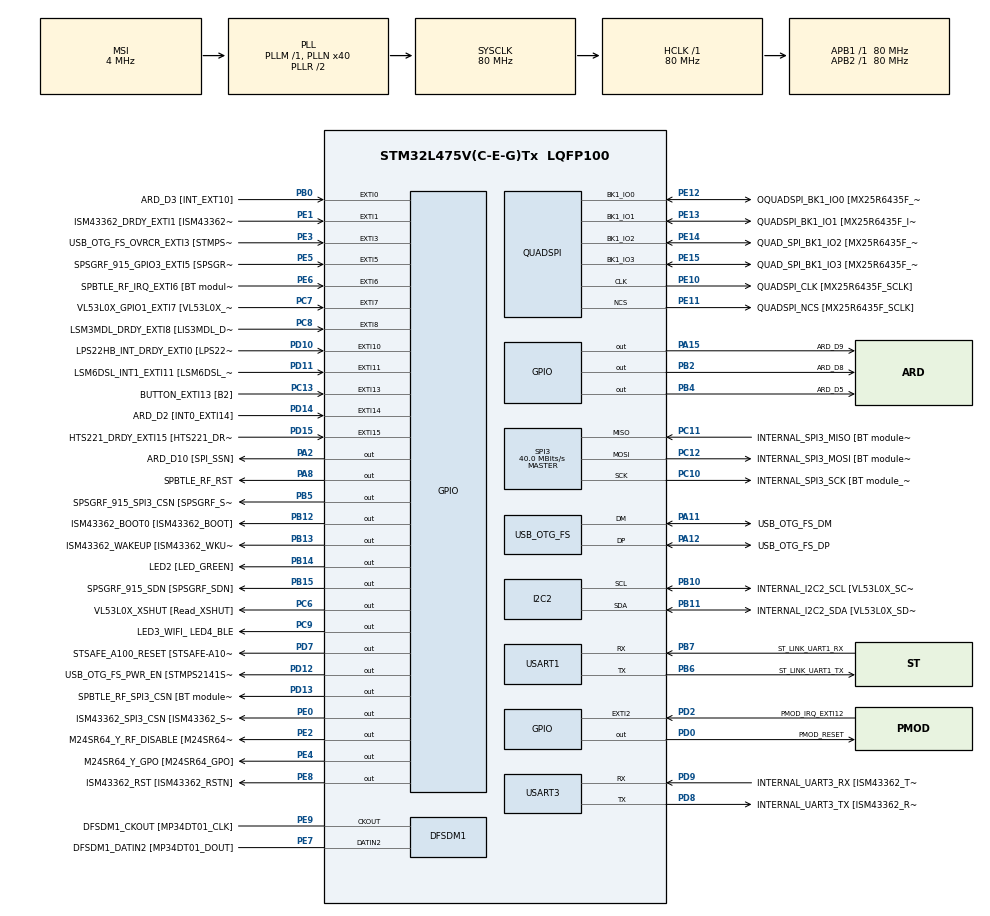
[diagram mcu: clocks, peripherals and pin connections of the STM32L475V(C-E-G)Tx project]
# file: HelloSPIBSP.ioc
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Mcu.Family=STM32L4
Mcu.Name=STM32L475V(C-E-G)Tx
Mcu.Package=LQFP100
NVIC.EXTI15_10_IRQn=true\:0\:0\:false\:false\:true\:true\:true
NVIC.EXTI9_5_IRQn=true\:0\:0\:false\:false\:true\:true\:true
NVIC.PriorityGroup=NVIC_PRIORITYGROUP_4
PA0.GPIO_Label=ARD_D1 [UART4_TX]
PA0.Signal=UART4_TX
PA1.GPIO_Label=ARD_D0 [UART4_RX]
PA1.Signal=UART4_RX
PA10.GPIO_Label=USB_OTG_FS_ID
PA10.Signal=USB_OTG_FS_ID
PA11.GPIO_Label=USB_OTG_FS_DM
PA11.Mode=Device_Only
PA11.Signal=USB_OTG_FS_DM
PA12.GPIO_Label=USB_OTG_FS_DP
PA12.Mode=Device_Only
PA12.Signal=USB_OTG_FS_DP
PA13\ (JTMS-SWDIO).GPIO_Label=SYS_JTMS_SWDIO
PA13\ (JTMS-SWDIO).Mode=Serial_Wire
PA13\ (JTMS-SWDIO).Signal=SYS_JTMS-SWDIO
PA14\ (JTCK-SWCLK).GPIO_Label=SYS_JTCK_SWCLK
PA14\ (JTCK-SWCLK).Mode=Serial_Wire
PA14\ (JTCK-SWCLK).Signal=SYS_JTCK-SWCLK
PA15\ (JTDI).GPIO_Label=ARD_D9
PA15\ (JTDI).Signal=GPIO_Output
PA2.GPIO_Label=ARD_D10 [SPI_SSN]
PA2.Signal=GPIO_Output
PA3.GPIO_Label=ARD_D4
PA3.Signal=S_TIM2_CH4
PA4.GPIO_Label=ARD_D7
PA4.Signal=ADCx_IN9
PA5.GPIO_Label=ARD_D13 [SPI1_SCK]
PA5.Signal=SPI1_SCK
PA6.GPIO_Label=ARD_D12 [SPI1_MISO]
PA6.Signal=SPI1_MISO
PA7.GPIO_Label=ARD_D11 [SPI1_MOSI]
PA7.Signal=SPI1_MOSI
PA8.GPIO_Label=SPBTLE_RF_RST
PA8.Signal=GPIO_Output
PA9.GPIO_Label=USB_OTG_FS_VBUS [STMPS2141STR_OUT]
PA9.Signal=USB_OTG_FS_VBUS
PB0.GPIO_Label=ARD_D3 [INT_EXT10]
PB0.Signal=GPXTI0
PB1.GPIO_Label=ARD_D6 [ADC1_IN6]
PB1.Signal=ADCx_IN16
PB10.GPIO_Label=INTERNAL_I2C2_SCL [VL53L0X_SCL]
PB10.GPIO_Pu=GPIO_PULLUP
PB10.Mode=I2C
PB10.Signal=I2C2_SCL
PB11.GPIO_Label=INTERNAL_I2C2_SDA [VL53L0X_SDA]
PB11.GPIO_Pu=GPIO_PULLUP
PB11.Mode=I2C
PB11.Signal=I2C2_SDA
PB12.GPIO_Label=ISM43362_BOOT0 [ISM43362_BOOT]
PB12.Signal=GPIO_Output
PB13.GPIO_Label=ISM43362_WAKEUP [ISM43362_WKUP]
PB13.Signal=GPIO_Output
PB14.GPIO_Label=LED2 [LED_GREEN]
PB14.Signal=GPIO_Output
PB15.GPIO_Label=SPSGRF_915_SDN [SPSGRF_SDN]
PB15.Signal=GPIO_Output
PB2.GPIO_Label=ARD_D8
PB2.Signal=GPIO_Output
PB3\ (JTDO-TRACESWO).GPIO_Label=SYS_JTD0_SWO
PB3\ (JTDO-TRACESWO).Signal=SYS_JTDO-SWO
PB4\ (NJTRST).GPIO_Label=ARD_D5
PB4\ (NJTRST).Signal=GPIO_Output
PB5.GPIO_Label=SPSGRF_915_SPI3_CSN [SPSGRF_SPI_CS]
PB5.PinState=GPIO_PIN_SET
PB5.Signal=GPIO_Output
PB6.GPIO_Label=ST_LINK_UART1_TX
PB6.Mode=Asynchronous
PB6.Signal=USART1_TX
PB7.GPIO_Label=ST_LINK_UART1_RX
PB7.Mode=Asynchronous
PB7.Signal=USART1_RX
PB8.GPIO_Label=ARD_D15 [I2C1_SCL]
PB8.Signal=I2C1_SCL
PB9.GPIO_Label=ARD_D14 [I2C1_SDA]
PB9.Signal=I2C1_SDA
PC0.GPIO_Label=ARD_A5 [ADC]
PC0.Signal=ADCx_IN1
PC1.GPIO_Label=ARD_A4 [ADC]
PC1.Signal=ADCx_IN2
PC10.GPIO_Label=INTERNAL_SPI3_SCK [BT module_SPI_SCLK] [ISM43362_SCK]
PC10.Mode=Full_Duplex_Master
PC10.Signal=SPI3_SCK
PC11.GPIO_Label=INTERNAL_SPI3_MISO [BT module_SPI_MISO] [ISM43362_MISO]
PC11.Mode=Full_Duplex_Master
PC11.Signal=SPI3_MISO
PC12.GPIO_Label=INTERNAL_SPI3_MOSI [BT module_SPI_MOSI] [ISM43362_MOSI]
PC12.Mode=Full_Duplex_Master
PC12.Signal=SPI3_MOSI
PC13.GPIO_Label=BUTTON_EXTI13 [B2]
PC13.GPIO_ModeDefaultEXTI=GPIO_MODE_IT_FALLING
PC13.Signal=GPXTI13
PC14-OSC32_IN\ (PC14).Mode=LSE-External-Oscillator
PC14-OSC32_IN\ (PC14).Signal=RCC_OSC32_IN
PC15-OSC32_OUT\ (PC15).Mode=LSE-External-Oscillator
PC15-OSC32_OUT\ (PC15).Signal=RCC_OSC32_OUT
PC2.GPIO_Label=ARD_A3 [ADC]
PC2.Signal=ADCx_IN3
PC3.GPIO_Label=ARD_A2 [ADC]
PC3.Signal=ADCx_IN4
PC4.GPIO_Label=ARD_A1 [ADC]
PC4.Signal=ADCx_IN13
PC5.GPIO_Label=ARD_A0 [ADC]
PC5.Signal=ADCx_IN14
PC6.GPIO_Label=VL53L0X_XSHUT [Read_XSHUT]
PC6.Signal=GPIO_Output
PC7.GPIO_Label=VL53L0X_GPIO1_EXTI7 [VL53L0X_GPIO1]
PC7.Signal=GPXTI7
PC8.GPIO_Label=LSM3MDL_DRDY_EXTI8 [LIS3MDL_DRDY]
PC8.Signal=GPXTI8
PC9.GPIO_Label=LED3_WIFI_ LED4_BLE
PC9.Signal=GPIO_Output
PD0.GPIO_Label=PMOD_RESET
PD0.Signal=GPIO_Output
PD1.GPIO_Label=PMOD_SPI2_SCK
PD1.Signal=SPI2_SCK
PD10.GPIO_Label=LPS22HB_INT_DRDY_EXTI0 [LPS22HB_INT_DRDY] 
PD10.Signal=GPXTI10
PD11.GPIO_Label=LSM6DSL_INT1_EXTI11 [LSM6DSL_INT1]
PD11.Signal=GPXTI11
PD12.GPIO_Label=USB_OTG_FS_PWR_EN [STMPS2141STR_EN]
PD12.Signal=GPIO_Output
PD13.GPIO_Label=SPBTLE_RF_SPI3_CSN [BT module_SPI_CS]
PD13.PinState=GPIO_PIN_SET
PD13.Signal=GPIO_Output
PD14.GPIO_Label=ARD_D2 [INT0_EXTI14]
PD14.Signal=GPXTI14
PD15.GPIO_Label=HTS221_DRDY_EXTI15 [HTS221_DRDY]
PD15.Signal=GPXTI15
PD2.GPIO_Label=PMOD_IRQ_EXTI12
PD2.Signal=GPXTI2
PD3.GPIO_Label=PMOD_UART2_CTS
PD3.Signal=USART2_CTS
PD4.GPIO_Label=PMOD_UART2_RTS
PD4.Signal=USART2_RTS
PD5.GPIO_Label=PMOD_UART2_TX
PD5.Signal=USART2_TX
PD6.GPIO_Label=PMOD_UART2_RX
PD6.Signal=USART2_RX
PD7.GPIO_Label=STSAFE_A100_RESET [STSAFE-A100_RESET]
PD7.Signal=GPIO_Output
PD8.GPIO_Label=INTERNAL_UART3_TX [ISM43362_RX]
PD8.Mode=Asynchronous
PD8.Signal=USART3_TX
PD9.GPIO_Label=INTERNAL_UART3_RX [ISM43362_TX]
PD9.Mode=Asynchronous
PD9.Signal=USART3_RX
PE0.GPIO_Label=ISM43362_SPI3_CSN [ISM43362_SSN]
PE0.PinState=GPIO_PIN_SET
PE0.Signal=GPIO_Output
PE1.GPIO_Label=ISM43362_DRDY_EXTI1 [ISM43362_DATARDY]
PE1.Signal=GPXTI1
PE10.GPIO_Label=QUADSPI_CLK [MX25R6435F_SCLK]
PE10.Mode=Single Bank
PE10.Signal=QUADSPI_CLK
PE11.GPIO_Label=QUADSPI_NCS [MX25R6435F_SCLK]
PE11.Mode=Single Bank
PE11.Signal=QUADSPI_NCS
PE12.GPIO_Label=OQUADSPI_BK1_IO0 [MX25R6435F_IO0]
PE12.Mode=Single Bank
PE12.Signal=QUADSPI_BK1_IO0
PE13.GPIO_Label=QUADSPI_BK1_IO1 [MX25R6435F_IO1]
PE13.Mode=Single Bank
PE13.Signal=QUADSPI_BK1_IO1
PE14.GPIO_Label=QUAD_SPI_BK1_IO2 [MX25R6435F_IO2]
PE14.Mode=Single Bank
PE14.Signal=QUADSPI_BK1_IO2
PE15.GPIO_Label=QUAD_SPI_BK1_IO3 [MX25R6435F_IO3]
PE15.Mode=Single Bank
PE15.Signal=QUADSPI_BK1_IO3
PE2.GPIO_Label=M24SR64_Y_RF_DISABLE [M24SR64_RFDIS]
PE2.Signal=GPIO_Output
PE3.GPIO_Label=USB_OTG_FS_OVRCR_EXTI3 [STMPS2141STR_FAULT]
PE3.Signal=GPXTI3
PE4.GPIO_Label=M24SR64_Y_GPO [M24SR64_GPO]
PE4.Signal=GPIO_Output
PE5.GPIO_Label=SPSGRF_915_GPIO3_EXTI5 [SPSGRF_GPIO_3]
PE5.Signal=GPXTI5
PE6.GPIO_Label=SPBTLE_RF_IRQ_EXTI6 [BT module_SPI_IRQ]
PE6.Signal=GPXTI6
PE7.GPIO_Label=DFSDM1_DATIN2 [MP34DT01_DOUT]
PE7.Signal=S_DATAIN2DFSDM1
PE8.GPIO_Label=ISM43362_RST [ISM43362_RSTN]
PE8.Signal=GPIO_Output
PE9.GPIO_Label=DFSDM1_CKOUT [MP34DT01_CLK]
PE9.Signal=S_CKOUTDFSDM1
ProjectManager.HeapSize=0x200
ProjectManager.StackSize=0x400
ProjectManager.TargetToolchain=STM32CubeIDE
QUADSPI.ClockPrescaler=2
QUADSPI.FifoThreshold=4
QUADSPI.FlashSize=23
QUADSPI.SampleShifting=QSPI_SAMPLE_SHIFTING_HALFCYCLE
RCC.ADCFreq_Value=48000000
RCC.AHBFreq_Value=80000000
RCC.APB1Freq_Value=80000000
RCC.APB1TimFreq_Value=80000000
RCC.APB2Freq_Value=80000000
RCC.APB2TimFreq_Value=80000000
RCC.CortexFreq_Value=80000000
RCC.HCLKFreq_Value=80000000
RCC.HSE_VALUE=8000000
RCC.HSI_VALUE=16000000
RCC.MSI_VALUE=4000000
RCC.PLLN=40
RCC.PLLSAI1N=24
RCC.SYSCLKFreq_VALUE=80000000
RCC.SYSCLKSource=RCC_SYSCLKSOURCE_PLLCLK
RCC.USBFreq_Value=48000000
RCC.VCOOutputFreq_Value=160000000
SH.ADCx_IN1.0=ADC1_IN1
SH.ADCx_IN13.0=ADC1_IN13
SH.ADCx_IN14.0=ADC1_IN14
SH.ADCx_IN16.0=ADC1_IN16
SH.ADCx_IN2.0=ADC1_IN2
SH.ADCx_IN3.0=ADC1_IN3
SH.ADCx_IN4.0=ADC1_IN4
SH.ADCx_IN9.0=ADC1_IN9
SH.S_CKOUTDFSDM1.0=DFSDM1_CKOUT,CKOUT
SH.S_CKOUTDFSDM1.1=DFSDM1_CKOUT,PDM_SPI_Input_from_ch12_and_Internal_Clock
SH.S_DATAIN2DFSDM1.0=DFSDM1_DATIN2,PDM_SPI_Input_from_ch12_and_Internal_Clock
SH.S_TIM2_CH4.0=TIM2_CH4
SPI3.CalculateBaudRate=40.0 MBits/s
SPI3.Direction=SPI_DIRECTION_2LINES
SPI3.Mode=SPI_MODE_MASTER
SPI3.VirtualType=VM_MASTER
USART1.VirtualMode-Asynchronous=VM_ASYNC
USART3.VirtualMode-Asynchronous=VM_ASYNC
USB_OTG_FS.VirtualMode=Device_Only
board=B-L475E-IOT01A1

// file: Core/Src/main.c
/* USER CODE BEGIN Header */
/**
 ******************************************************************************
 * @file           : main.c
 * @brief          : Main program body
 ******************************************************************************
 * @attention
 *
 * <h2><center>&copy; Copyright (c) 2021 STMicroelectronics.
 * All rights reserved.</center></h2>
 *
 * This software component is licensed by ST under BSD 3-Clause license,
 * the "License"; You may not use this file except in compliance with the
 * License. You may obtain a copy of the License at:
 *                        opensource.org/licenses/BSD-3-Clause
 *
 ******************************************************************************
 */
/* USER CODE END Header */
#include "main.h"

/* USER CODE BEGIN Includes */
#include "stm32l475e_iot01.h"
#include "stm32l475e_iot01_qspi.h"
#include <string.h>
#include <stdio.h>
/* USER CODE END Includes */

DFSDM_Channel_HandleTypeDef hdfsdm1_channel1;

I2C_HandleTypeDef hi2c2;

QSPI_HandleTypeDef hqspi;

SPI_HandleTypeDef hspi3;

UART_HandleTypeDef huart1;
UART_HandleTypeDef huart3;

PCD_HandleTypeDef hpcd_USB_OTG_FS;

void SystemClock_Config(void);
static void MX_GPIO_Init(void);
static void MX_DFSDM1_Init(void);
static void MX_I2C2_Init(void);
static void MX_QUADSPI_Init(void);
static void MX_SPI3_Init(void);
static void MX_USART1_UART_Init(void);
static void MX_USART3_UART_Init(void);
static void MX_USB_OTG_FS_PCD_Init(void);
/* USER CODE BEGIN PFP */

static void do_qspi_status(void);
static void do_qspi_info(void);

/* USER CODE END PFP */

int main(void) {

    /* MCU Configuration--------------------------------------------------------*/

    /* Reset of all peripherals, Initializes the Flash interface and the Systick. */
    HAL_Init();

    /* Configure the system clock */
    SystemClock_Config();

    /* Initialize all configured peripherals */
    MX_GPIO_Init();
    MX_DFSDM1_Init();
    MX_I2C2_Init();
    MX_QUADSPI_Init();
    MX_SPI3_Init();
    MX_USART1_UART_Init();
    MX_USART3_UART_Init();
    MX_USB_OTG_FS_PCD_Init();

    /* Infinite loop */
    /* USER CODE BEGIN WHILE */
    while (1) {

        char *prompt = "1=BSP_QSPI_Status(), 2=BSP_QSPI_Info()\r\n";
        HAL_UART_Transmit(&huart1, (uint8_t*) prompt, strlen(prompt), 1000);

        char ch;
        HAL_UART_Receive(&huart1, (uint8_t*) &ch, 1, HAL_MAX_DELAY);

        char *msg = "What?";
        switch (ch) {
            case '1':
                msg = "\r\nBSP_QSPI_Status()\r\n";
                HAL_UART_Transmit(&huart1, msg, strlen(msg), 1000);
                do_qspi_status();
                break;
            case '2':
                msg = "\r\nBSP_QSPI_Info()\r\n";
                HAL_UART_Transmit(&huart1, msg, strlen(msg), 1000);
                do_qspi_info();
                break;
            default: {
                char *msg = "\r\nWhat?\r\n";
                HAL_UART_Transmit(&huart1, (uint8_t*) msg, strlen(msg), 1000);
            }
        }

        /* USER CODE END WHILE */

    }
}

void SystemClock_Config(void) {
    RCC_OscInitTypeDef RCC_OscInitStruct = { 0 };
    RCC_ClkInitTypeDef RCC_ClkInitStruct = { 0 };

    /** Configure the main internal regulator output voltage
     */
    if (HAL_PWREx_ControlVoltageScaling(PWR_REGULATOR_VOLTAGE_SCALE1) != HAL_OK) {
        Error_Handler();
    }
    /** Configure LSE Drive Capability
     */
    HAL_PWR_EnableBkUpAccess();
    __HAL_RCC_LSEDRIVE_CONFIG(RCC_LSEDRIVE_LOW);
    /** Initializes the RCC Oscillators according to the specified parameters
     * in the RCC_OscInitTypeDef structure.
     */
    RCC_OscInitStruct.OscillatorType = RCC_OSCILLATORTYPE_LSE | RCC_OSCILLATORTYPE_MSI;
    RCC_OscInitStruct.LSEState = RCC_LSE_ON;
    RCC_OscInitStruct.MSIState = RCC_MSI_ON;
    RCC_OscInitStruct.MSICalibrationValue = 0;
    RCC_OscInitStruct.MSIClockRange = RCC_MSIRANGE_6;
    RCC_OscInitStruct.PLL.PLLState = RCC_PLL_ON;
    RCC_OscInitStruct.PLL.PLLSource = RCC_PLLSOURCE_MSI;
    RCC_OscInitStruct.PLL.PLLM = 1;
    RCC_OscInitStruct.PLL.PLLN = 40;
    RCC_OscInitStruct.PLL.PLLP = RCC_PLLP_DIV7;
    RCC_OscInitStruct.PLL.PLLQ = RCC_PLLQ_DIV2;
    RCC_OscInitStruct.PLL.PLLR = RCC_PLLR_DIV2;
    if (HAL_RCC_OscConfig(&RCC_OscInitStruct) != HAL_OK) {
        Error_Handler();
    }
    /** Initializes the CPU, AHB and APB buses clocks
     */
    RCC_ClkInitStruct.ClockType = RCC_CLOCKTYPE_HCLK | RCC_CLOCKTYPE_SYSCLK | RCC_CLOCKTYPE_PCLK1 | RCC_CLOCKTYPE_PCLK2;
    RCC_ClkInitStruct.SYSCLKSource = RCC_SYSCLKSOURCE_PLLCLK;
    RCC_ClkInitStruct.AHBCLKDivider = RCC_SYSCLK_DIV1;
    RCC_ClkInitStruct.APB1CLKDivider = RCC_HCLK_DIV1;
    RCC_ClkInitStruct.APB2CLKDivider = RCC_HCLK_DIV1;

    if (HAL_RCC_ClockConfig(&RCC_ClkInitStruct, FLASH_LATENCY_4) != HAL_OK) {
        Error_Handler();
    }
    /** Enable MSI Auto calibration
     */
    HAL_RCCEx_EnableMSIPLLMode();
}

static void MX_DFSDM1_Init(void) {

    hdfsdm1_channel1.Instance = DFSDM1_Channel1;
    hdfsdm1_channel1.Init.OutputClock.Activation = ENABLE;
    hdfsdm1_channel1.Init.OutputClock.Selection = DFSDM_CHANNEL_OUTPUT_CLOCK_SYSTEM;
    hdfsdm1_channel1.Init.OutputClock.Divider = 2;
    hdfsdm1_channel1.Init.Input.Multiplexer = DFSDM_CHANNEL_EXTERNAL_INPUTS;
    hdfsdm1_channel1.Init.Input.DataPacking = DFSDM_CHANNEL_STANDARD_MODE;
    hdfsdm1_channel1.Init.Input.Pins = DFSDM_CHANNEL_FOLLOWING_CHANNEL_PINS;
    hdfsdm1_channel1.Init.SerialInterface.Type = DFSDM_CHANNEL_SPI_RISING;
    hdfsdm1_channel1.Init.SerialInterface.SpiClock = DFSDM_CHANNEL_SPI_CLOCK_INTERNAL;
    hdfsdm1_channel1.Init.Awd.FilterOrder = DFSDM_CHANNEL_FASTSINC_ORDER;
    hdfsdm1_channel1.Init.Awd.Oversampling = 1;
    hdfsdm1_channel1.Init.Offset = 0;
    hdfsdm1_channel1.Init.RightBitShift = 0x00;
    if (HAL_DFSDM_ChannelInit(&hdfsdm1_channel1) != HAL_OK) {
        Error_Handler();
    }

}

static void MX_I2C2_Init(void) {

    hi2c2.Instance = I2C2;
    hi2c2.Init.Timing = 0x00000E14;
    hi2c2.Init.OwnAddress1 = 0;
    hi2c2.Init.AddressingMode = I2C_ADDRESSINGMODE_7BIT;
    hi2c2.Init.DualAddressMode = I2C_DUALADDRESS_DISABLE;
    hi2c2.Init.OwnAddress2 = 0;
    hi2c2.Init.OwnAddress2Masks = I2C_OA2_NOMASK;
    hi2c2.Init.GeneralCallMode = I2C_GENERALCALL_DISABLE;
    hi2c2.Init.NoStretchMode = I2C_NOSTRETCH_DISABLE;
    if (HAL_I2C_Init(&hi2c2) != HAL_OK) {
        Error_Handler();
    }
    /** Configure Analogue filter
     */
    if (HAL_I2CEx_ConfigAnalogFilter(&hi2c2, I2C_ANALOGFILTER_ENABLE) != HAL_OK) {
        Error_Handler();
    }
    /** Configure Digital filter
     */
    if (HAL_I2CEx_ConfigDigitalFilter(&hi2c2, 0) != HAL_OK) {
        Error_Handler();
    }

}

static void MX_QUADSPI_Init(void) {

    /* QUADSPI parameter configuration*/
    hqspi.Instance = QUADSPI;
    hqspi.Init.ClockPrescaler = 2;
    hqspi.Init.FifoThreshold = 4;
    hqspi.Init.SampleShifting = QSPI_SAMPLE_SHIFTING_HALFCYCLE;
    hqspi.Init.FlashSize = 23;
    hqspi.Init.ChipSelectHighTime = QSPI_CS_HIGH_TIME_1_CYCLE;
    hqspi.Init.ClockMode = QSPI_CLOCK_MODE_0;
    if (HAL_QSPI_Init(&hqspi) != HAL_OK) {
        Error_Handler();
    }

}

static void MX_SPI3_Init(void) {

    /* SPI3 parameter configuration*/
    hspi3.Instance = SPI3;
    hspi3.Init.Mode = SPI_MODE_MASTER;
    hspi3.Init.Direction = SPI_DIRECTION_2LINES;
    hspi3.Init.DataSize = SPI_DATASIZE_4BIT;
    hspi3.Init.CLKPolarity = SPI_POLARITY_LOW;
    hspi3.Init.CLKPhase = SPI_PHASE_1EDGE;
    hspi3.Init.NSS = SPI_NSS_SOFT;
    hspi3.Init.BaudRatePrescaler = SPI_BAUDRATEPRESCALER_2;
    hspi3.Init.FirstBit = SPI_FIRSTBIT_MSB;
    hspi3.Init.TIMode = SPI_TIMODE_DISABLE;
    hspi3.Init.CRCCalculation = SPI_CRCCALCULATION_DISABLE;
    hspi3.Init.CRCPolynomial = 7;
    hspi3.Init.CRCLength = SPI_CRC_LENGTH_DATASIZE;
    hspi3.Init.NSSPMode = SPI_NSS_PULSE_ENABLE;
    if (HAL_SPI_Init(&hspi3) != HAL_OK) {
        Error_Handler();
    }

}

static void MX_USART1_UART_Init(void) {

    huart1.Instance = USART1;
    huart1.Init.BaudRate = 115200;
    huart1.Init.WordLength = UART_WORDLENGTH_8B;
    huart1.Init.StopBits = UART_STOPBITS_1;
    huart1.Init.Parity = UART_PARITY_NONE;
    huart1.Init.Mode = UART_MODE_TX_RX;
    huart1.Init.HwFlowCtl = UART_HWCONTROL_NONE;
    huart1.Init.OverSampling = UART_OVERSAMPLING_16;
    huart1.Init.OneBitSampling = UART_ONE_BIT_SAMPLE_DISABLE;
    huart1.AdvancedInit.AdvFeatureInit = UART_ADVFEATURE_NO_INIT;
    if (HAL_UART_Init(&huart1) != HAL_OK) {
        Error_Handler();
    }

}

static void MX_USART3_UART_Init(void) {

    huart3.Instance = USART3;
    huart3.Init.BaudRate = 115200;
    huart3.Init.WordLength = UART_WORDLENGTH_8B;
    huart3.Init.StopBits = UART_STOPBITS_1;
    huart3.Init.Parity = UART_PARITY_NONE;
    huart3.Init.Mode = UART_MODE_TX_RX;
    huart3.Init.HwFlowCtl = UART_HWCONTROL_NONE;
    huart3.Init.OverSampling = UART_OVERSAMPLING_16;
    huart3.Init.OneBitSampling = UART_ONE_BIT_SAMPLE_DISABLE;
    huart3.AdvancedInit.AdvFeatureInit = UART_ADVFEATURE_NO_INIT;
    if (HAL_UART_Init(&huart3) != HAL_OK) {
        Error_Handler();
    }

}

static void MX_USB_OTG_FS_PCD_Init(void) {

    hpcd_USB_OTG_FS.Instance = USB_OTG_FS;
    hpcd_USB_OTG_FS.Init.dev_endpoints = 6;
    hpcd_USB_OTG_FS.Init.speed = PCD_SPEED_FULL;
    hpcd_USB_OTG_FS.Init.phy_itface = PCD_PHY_EMBEDDED;
    hpcd_USB_OTG_FS.Init.Sof_enable = DISABLE;
    hpcd_USB_OTG_FS.Init.low_power_enable = DISABLE;
    hpcd_USB_OTG_FS.Init.lpm_enable = DISABLE;
    hpcd_USB_OTG_FS.Init.battery_charging_enable = DISABLE;
    hpcd_USB_OTG_FS.Init.use_dedicated_ep1 = DISABLE;
    hpcd_USB_OTG_FS.Init.vbus_sensing_enable = DISABLE;
    if (HAL_PCD_Init(&hpcd_USB_OTG_FS) != HAL_OK) {
        Error_Handler();
    }

}

static void MX_GPIO_Init(void) {
    GPIO_InitTypeDef GPIO_InitStruct = { 0 };

    /* GPIO Ports Clock Enable */
    __HAL_RCC_GPIOE_CLK_ENABLE();
    __HAL_RCC_GPIOC_CLK_ENABLE();
    __HAL_RCC_GPIOA_CLK_ENABLE();
    __HAL_RCC_GPIOB_CLK_ENABLE();
    __HAL_RCC_GPIOD_CLK_ENABLE();

    /*Configure GPIO pin Output Level */
    HAL_GPIO_WritePin(GPIOE, M24SR64_Y_RF_DISABLE_Pin | M24SR64_Y_GPO_Pin | ISM43362_RST_Pin, GPIO_PIN_RESET);

    /*Configure GPIO pin Output Level */
    HAL_GPIO_WritePin(GPIOA, ARD_D10_Pin | SPBTLE_RF_RST_Pin | ARD_D9_Pin, GPIO_PIN_RESET);

    /*Configure GPIO pin Output Level */
    HAL_GPIO_WritePin(GPIOB,
    ARD_D8_Pin | ISM43362_BOOT0_Pin | ISM43362_WAKEUP_Pin | LED2_Pin | SPSGRF_915_SDN_Pin | ARD_D5_Pin, GPIO_PIN_RESET);

    /*Configure GPIO pin Output Level */
    HAL_GPIO_WritePin(GPIOD, USB_OTG_FS_PWR_EN_Pin | PMOD_RESET_Pin | STSAFE_A100_RESET_Pin, GPIO_PIN_RESET);

    /*Configure GPIO pin Output Level */
    HAL_GPIO_WritePin(SPBTLE_RF_SPI3_CSN_GPIO_Port, SPBTLE_RF_SPI3_CSN_Pin, GPIO_PIN_SET);

    /*Configure GPIO pin Output Level */
    HAL_GPIO_WritePin(GPIOC, VL53L0X_XSHUT_Pin | LED3_WIFI__LED4_BLE_Pin, GPIO_PIN_RESET);

    /*Configure GPIO pin Output Level */
    HAL_GPIO_WritePin(SPSGRF_915_SPI3_CSN_GPIO_Port, SPSGRF_915_SPI3_CSN_Pin, GPIO_PIN_SET);

    /*Configure GPIO pin Output Level */
    HAL_GPIO_WritePin(ISM43362_SPI3_CSN_GPIO_Port, ISM43362_SPI3_CSN_Pin, GPIO_PIN_SET);

    /*Configure GPIO pins : M24SR64_Y_RF_DISABLE_Pin M24SR64_Y_GPO_Pin ISM43362_RST_Pin ISM43362_SPI3_CSN_Pin */
    GPIO_InitStruct.Pin = M24SR64_Y_RF_DISABLE_Pin | M24SR64_Y_GPO_Pin | ISM43362_RST_Pin | ISM43362_SPI3_CSN_Pin;
    GPIO_InitStruct.Mode = GPIO_MODE_OUTPUT_PP;
    GPIO_InitStruct.Pull = GPIO_NOPULL;
    GPIO_InitStruct.Speed = GPIO_SPEED_FREQ_LOW;
    HAL_GPIO_Init(GPIOE, &GPIO_InitStruct);

    /*Configure GPIO pins : USB_OTG_FS_OVRCR_EXTI3_Pin SPSGRF_915_GPIO3_EXTI5_Pin SPBTLE_RF_IRQ_EXTI6_Pin ISM43362_DRDY_EXTI1_Pin */
    GPIO_InitStruct.Pin = USB_OTG_FS_OVRCR_EXTI3_Pin | SPSGRF_915_GPIO3_EXTI5_Pin | SPBTLE_RF_IRQ_EXTI6_Pin
            | ISM43362_DRDY_EXTI1_Pin;
    GPIO_InitStruct.Mode = GPIO_MODE_IT_RISING;
    GPIO_InitStruct.Pull = GPIO_NOPULL;
    HAL_GPIO_Init(GPIOE, &GPIO_InitStruct);

    /*Configure GPIO pin : BUTTON_EXTI13_Pin */
    GPIO_InitStruct.Pin = BUTTON_EXTI13_Pin;
    GPIO_InitStruct.Mode = GPIO_MODE_IT_FALLING;
    GPIO_InitStruct.Pull = GPIO_NOPULL;
    HAL_GPIO_Init(BUTTON_EXTI13_GPIO_Port, &GPIO_InitStruct);

    /*Configure GPIO pins : ARD_A5_Pin ARD_A4_Pin ARD_A3_Pin ARD_A2_Pin
     ARD_A1_Pin ARD_A0_Pin */
    GPIO_InitStruct.Pin = ARD_A5_Pin | ARD_A4_Pin | ARD_A3_Pin | ARD_A2_Pin | ARD_A1_Pin | ARD_A0_Pin;
    GPIO_InitStruct.Mode = GPIO_MODE_ANALOG_ADC_CONTROL;
    GPIO_InitStruct.Pull = GPIO_NOPULL;
    HAL_GPIO_Init(GPIOC, &GPIO_InitStruct);

    /*Configure GPIO pins : ARD_D1_Pin ARD_D0_Pin */
    GPIO_InitStruct.Pin = ARD_D1_Pin | ARD_D0_Pin;
    GPIO_InitStruct.Mode = GPIO_MODE_AF_PP;
    GPIO_InitStruct.Pull = GPIO_NOPULL;
    GPIO_InitStruct.Speed = GPIO_SPEED_FREQ_VERY_HIGH;
    GPIO_InitStruct.Alternate = GPIO_AF8_UART4;
    HAL_GPIO_Init(GPIOA, &GPIO_InitStruct);

    /*Configure GPIO pins : ARD_D10_Pin SPBTLE_RF_RST_Pin ARD_D9_Pin */
    GPIO_InitStruct.Pin = ARD_D10_Pin | SPBTLE_RF_RST_Pin | ARD_D9_Pin;
    GPIO_InitStruct.Mode = GPIO_MODE_OUTPUT_PP;
    GPIO_InitStruct.Pull = GPIO_NOPULL;
    GPIO_InitStruct.Speed = GPIO_SPEED_FREQ_LOW;
    HAL_GPIO_Init(GPIOA, &GPIO_InitStruct);

    /*Configure GPIO pin : ARD_D4_Pin */
    GPIO_InitStruct.Pin = ARD_D4_Pin;
    GPIO_InitStruct.Mode = GPIO_MODE_AF_PP;
    GPIO_InitStruct.Pull = GPIO_NOPULL;
    GPIO_InitStruct.Speed = GPIO_SPEED_FREQ_LOW;
    GPIO_InitStruct.Alternate = GPIO_AF1_TIM2;
    HAL_GPIO_Init(ARD_D4_GPIO_Port, &GPIO_InitStruct);

    /*Configure GPIO pin : ARD_D7_Pin */
    GPIO_InitStruct.Pin = ARD_D7_Pin;
    GPIO_InitStruct.Mode = GPIO_MODE_ANALOG_ADC_CONTROL;
    GPIO_InitStruct.Pull = GPIO_NOPULL;
    HAL_GPIO_Init(ARD_D7_GPIO_Port, &GPIO_InitStruct);

    /*Configure GPIO pins : ARD_D13_Pin ARD_D12_Pin ARD_D11_Pin */
    GPIO_InitStruct.Pin = ARD_D13_Pin | ARD_D12_Pin | ARD_D11_Pin;
    GPIO_InitStruct.Mode = GPIO_MODE_AF_PP;
    GPIO_InitStruct.Pull = GPIO_NOPULL;
    GPIO_InitStruct.Speed = GPIO_SPEED_FREQ_VERY_HIGH;
    GPIO_InitStruct.Alternate = GPIO_AF5_SPI1;
    HAL_GPIO_Init(GPIOA, &GPIO_InitStruct);

    /*Configure GPIO pin : ARD_D3_Pin */
    GPIO_InitStruct.Pin = ARD_D3_Pin;
    GPIO_InitStruct.Mode = GPIO_MODE_IT_RISING;
    GPIO_InitStruct.Pull = GPIO_NOPULL;
    HAL_GPIO_Init(ARD_D3_GPIO_Port, &GPIO_InitStruct);

    /*Configure GPIO pin : ARD_D6_Pin */
    GPIO_InitStruct.Pin = ARD_D6_Pin;
    GPIO_InitStruct.Mode = GPIO_MODE_ANALOG_ADC_CONTROL;
    GPIO_InitStruct.Pull = GPIO_NOPULL;
    HAL_GPIO_Init(ARD_D6_GPIO_Port, &GPIO_InitStruct);

    /*Configure GPIO pins : ARD_D8_Pin ISM43362_BOOT0_Pin ISM43362_WAKEUP_Pin LED2_Pin
     SPSGRF_915_SDN_Pin ARD_D5_Pin SPSGRF_915_SPI3_CSN_Pin */
    GPIO_InitStruct.Pin = ARD_D8_Pin | ISM43362_BOOT0_Pin | ISM43362_WAKEUP_Pin | LED2_Pin | SPSGRF_915_SDN_Pin
            | ARD_D5_Pin | SPSGRF_915_SPI3_CSN_Pin;
    GPIO_InitStruct.Mode = GPIO_MODE_OUTPUT_PP;
    GPIO_InitStruct.Pull = GPIO_NOPULL;
    GPIO_InitStruct.Speed = GPIO_SPEED_FREQ_LOW;
    HAL_GPIO_Init(GPIOB, &GPIO_InitStruct);

    /*Configure GPIO pins : LPS22HB_INT_DRDY_EXTI0_Pin LSM6DSL_INT1_EXTI11_Pin ARD_D2_Pin HTS221_DRDY_EXTI15_Pin
     PMOD_IRQ_EXTI12_Pin */
    GPIO_InitStruct.Pin = LPS22HB_INT_DRDY_EXTI0_Pin | LSM6DSL_INT1_EXTI11_Pin | ARD_D2_Pin | HTS221_DRDY_EXTI15_Pin
            | PMOD_IRQ_EXTI12_Pin;
    GPIO_InitStruct.Mode = GPIO_MODE_IT_RISING;
    GPIO_InitStruct.Pull = GPIO_NOPULL;
    HAL_GPIO_Init(GPIOD, &GPIO_InitStruct);

    /*Configure GPIO pins : USB_OTG_FS_PWR_EN_Pin SPBTLE_RF_SPI3_CSN_Pin PMOD_RESET_Pin STSAFE_A100_RESET_Pin */
    GPIO_InitStruct.Pin = USB_OTG_FS_PWR_EN_Pin | SPBTLE_RF_SPI3_CSN_Pin | PMOD_RESET_Pin | STSAFE_A100_RESET_Pin;
    GPIO_InitStruct.Mode = GPIO_MODE_OUTPUT_PP;
    GPIO_InitStruct.Pull = GPIO_NOPULL;
    GPIO_InitStruct.Speed = GPIO_SPEED_FREQ_LOW;
    HAL_GPIO_Init(GPIOD, &GPIO_InitStruct);

    /*Configure GPIO pins : VL53L0X_XSHUT_Pin LED3_WIFI__LED4_BLE_Pin */
    GPIO_InitStruct.Pin = VL53L0X_XSHUT_Pin | LED3_WIFI__LED4_BLE_Pin;
    GPIO_InitStruct.Mode = GPIO_MODE_OUTPUT_PP;
    GPIO_InitStruct.Pull = GPIO_NOPULL;
    GPIO_InitStruct.Speed = GPIO_SPEED_FREQ_LOW;
    HAL_GPIO_Init(GPIOC, &GPIO_InitStruct);

    /*Configure GPIO pins : VL53L0X_GPIO1_EXTI7_Pin LSM3MDL_DRDY_EXTI8_Pin */
    GPIO_InitStruct.Pin = VL53L0X_GPIO1_EXTI7_Pin | LSM3MDL_DRDY_EXTI8_Pin;
    GPIO_InitStruct.Mode = GPIO_MODE_IT_RISING;
    GPIO_InitStruct.Pull = GPIO_NOPULL;
    HAL_GPIO_Init(GPIOC, &GPIO_InitStruct);

    /*Configure GPIO pin : PMOD_SPI2_SCK_Pin */
    GPIO_InitStruct.Pin = PMOD_SPI2_SCK_Pin;
    GPIO_InitStruct.Mode = GPIO_MODE_AF_PP;
    GPIO_InitStruct.Pull = GPIO_NOPULL;
    GPIO_InitStruct.Speed = GPIO_SPEED_FREQ_VERY_HIGH;
    GPIO_InitStruct.Alternate = GPIO_AF5_SPI2;
    HAL_GPIO_Init(PMOD_SPI2_SCK_GPIO_Port, &GPIO_InitStruct);

    /*Configure GPIO pins : PMOD_UART2_CTS_Pin PMOD_UART2_RTS_Pin PMOD_UART2_TX_Pin PMOD_UART2_RX_Pin */
    GPIO_InitStruct.Pin = PMOD_UART2_CTS_Pin | PMOD_UART2_RTS_Pin | PMOD_UART2_TX_Pin | PMOD_UART2_RX_Pin;
    GPIO_InitStruct.Mode = GPIO_MODE_AF_PP;
    GPIO_InitStruct.Pull = GPIO_NOPULL;
    GPIO_InitStruct.Speed = GPIO_SPEED_FREQ_VERY_HIGH;
    GPIO_InitStruct.Alternate = GPIO_AF7_USART2;
    HAL_GPIO_Init(GPIOD, &GPIO_InitStruct);

    /*Configure GPIO pins : ARD_D15_Pin ARD_D14_Pin */
    GPIO_InitStruct.Pin = ARD_D15_Pin | ARD_D14_Pin;
    GPIO_InitStruct.Mode = GPIO_MODE_AF_OD;
    GPIO_InitStruct.Pull = GPIO_NOPULL;
    GPIO_InitStruct.Speed = GPIO_SPEED_FREQ_VERY_HIGH;
    GPIO_InitStruct.Alternate = GPIO_AF4_I2C1;
    HAL_GPIO_Init(GPIOB, &GPIO_InitStruct);

    /* EXTI interrupt init*/
    HAL_NVIC_SetPriority(EXTI9_5_IRQn, 0, 0);
    HAL_NVIC_EnableIRQ(EXTI9_5_IRQn);

    HAL_NVIC_SetPriority(EXTI15_10_IRQn, 0, 0);
    HAL_NVIC_EnableIRQ(EXTI15_10_IRQn);

}

/* USER CODE BEGIN 4 */

void do_qspi_status(void) {

    uint8_t status = BSP_QSPI_GetStatus();

    char buff[100];
    snprintf(buff, sizeof(buff), "Status: %d\r\n", status);

    HAL_UART_Transmit(&huart1, (uint8_t*) buff, strlen(buff), 1000);
}

void do_qspi_info(void) {

    QSPI_Info info = { 0 };

    BSP_QSPI_GetInfo(&info);

    char buff[100];
    snprintf(buff, sizeof(buff), "Flash Size: %lu\r\n"
        "Erase Sector Size: %lu\r\n"
        "Erase Sector number: %lu\r\n"
        "Prog Pages Number\r\n"
        "Prog Page Size: %lu\r\n", info.FlashSize, info.EraseSectorsNumber, info.EraseSectorSize, info.ProgPagesNumber,
        info.ProgPageSize);

    HAL_UART_Transmit(&huart1, (uint8_t*) buff, strlen(buff), 1000);
}
/* USER CODE END 4 */

void Error_Handler(void) {
    __disable_irq();
    while (1) {
    }
}

/************************ (C) COPYRIGHT STMicroelectronics *****END OF FILE****/
